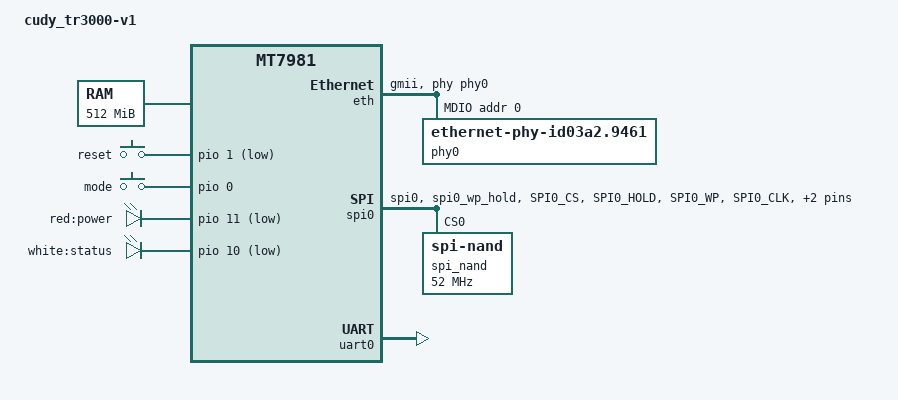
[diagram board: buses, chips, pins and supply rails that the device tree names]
// SPDX-License-Identifier: GPL-2.0-or-later

/dts-v1/;
#include "mt7981.dtsi"
#include <dt-bindings/gpio/gpio.h>
#include <dt-bindings/input/linux-event-codes.h>

/ {
	#address-cells = <1>;
	#size-cells = <1>;
	model = "cudy_tr3000-v1";
	compatible = "mediatek,mt7981", "mediatek,mt7981-rfb";

	chosen {
		stdout-path = &uart0;
		tick-timer = &timer0;
	};

	config {
		bootcmd = "mtkboardboot";
		blink_led = "white:status";
		system_led = "red:power";
	};

	memory@40000000 {
		device_type = "memory";
		reg = <0x40000000 0x20000000>;
	};

	gpio-keys {
		compatible = "gpio-keys";

		button-reset {
			label = "reset";
			linux,code = <KEY_RESTART>;
			gpios = <&pio 1 GPIO_ACTIVE_LOW>;
		};

		button-mode {
			label = "mode";
			linux,code = <EV_SW>;
			linux,input-type = <BTN_0>;
			gpios = <&pio 0 GPIO_ACTIVE_HIGH>;
			debounce-interval = <60>;
		};
	};

	gpio-leds {
		compatible = "gpio-leds";

		led_status: led-0 {
			label = "red:power";
			gpios = <&pio 11 GPIO_ACTIVE_LOW>;
		};

		led-1 {
			label = "white:status";
			gpios = <&pio 10 GPIO_ACTIVE_LOW>;
		};
	};

	bl2_verify {
		bl2_compatible = "spim-nand";
	};
};

&eth {
	status = "okay";
	mediatek,gmac-id = <1>;
	phy-mode = "gmii";
	phy-handle = <&phy0>;

	mdio {
		phy0: ethernet-phy@0 {
			compatible = "ethernet-phy-id03a2.9461";
			reg = <0x0>;
			phy-mode = "gmii";
		};
	};
};

&pio {
	spi_flash_pins: spi0-pins-func-1 {
		mux {
			function = "flash";
			groups = "spi0", "spi0_wp_hold";
		};

		conf-pu {
			pins = "SPI0_CS", "SPI0_HOLD", "SPI0_WP";
			drive-strength = <MTK_DRIVE_4mA>;
			bias-pull-up = <MTK_PUPD_SET_R1R0_11>;
		};

		conf-pd {
			pins = "SPI0_CLK", "SPI0_MOSI", "SPI0_MISO";
			drive-strength = <MTK_DRIVE_4mA>;
			bias-pull-down = <MTK_PUPD_SET_R1R0_11>;
		};
	};
};

&spi0 {
	#address-cells = <1>;
	#size-cells = <0>;
	pinctrl-names = "default";
	pinctrl-0 = <&spi_flash_pins>;
	status = "okay";
	must_tx;
	enhance_timing;
	dma_ext;
	ipm_design;
	support_quad;
	tick_dly = <2>;
	sample_sel = <0>;

	spi_nand@0 {
		compatible = "spi-nand";
		reg = <0>;
		spi-max-frequency = <52000000>;
	};
};

&uart0 {
	status = "okay";
};

&watchdog {
	status = "disabled";
};
